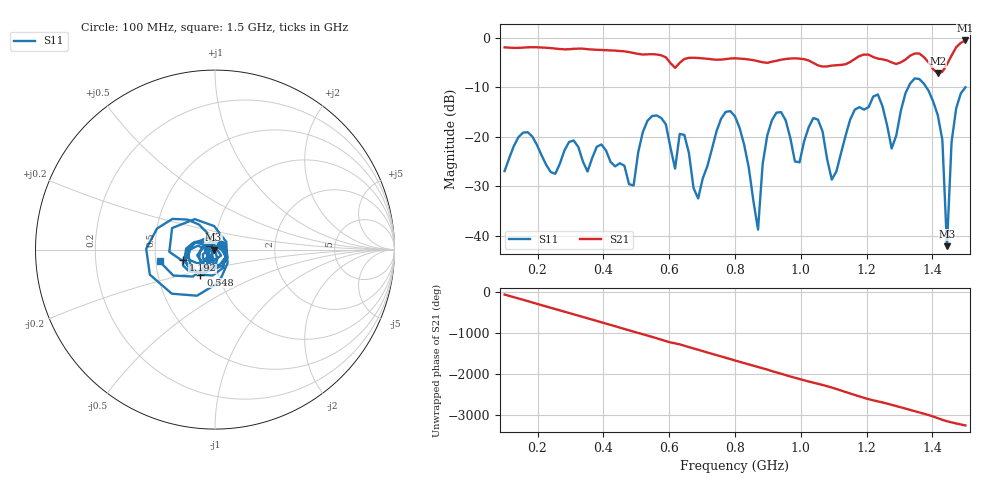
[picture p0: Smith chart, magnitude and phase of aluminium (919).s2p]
! NanoVNA-App
! Date: 2025-09-25 15:02:26
! Start: 100MHz Stop: 1,5GHz Points: 101
! S-Parameter data: F S11 S21 S12 S22
# Hz S RI R 50
!  Frequency  S11_Real  S11_Imag  S21_Real  S21_Imag  S12_Real  S12_Imag  S22_Real  S22_Imag
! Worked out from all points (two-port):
!   101 points, 100 MHz to 1.5 GHz, reference 50 ohm
!   highest |S21| = -0.53 dB at 1.5 GHz (marker M1); lowest = -7.2 dB at 1.416 GHz (marker M2)
!   |S21| within 3 dB of the highest: start of sweep to 575.9 MHz; 1.458 GHz to end of sweep (the widest 2 of 4)
!   lowest |S11| = -42.1 dB at 1.444 GHz (marker M3), VSWR 1.02, Z = 49.2 - j0.0281 ohm
!   |S11| at or under -10 dB: start of sweep to 1.327 GHz; 1.381 GHz to end of sweep
!   S12 and S22 are empty: the file has one direction only
!   S11 on the Smith chart (normalised r, x): 100 MHz: 1.07, +0.06; 548 MHz: 0.82, -0.24; 1.192 GHz: 0.69, -0.08; 1.5 GHz: 0.52, -0.08
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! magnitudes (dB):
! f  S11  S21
! 100 MHz  -27.0  -1.9
! 156 MHz  -19.2  -2.0
! 338 MHz  -25.0  -2.2
! 492 MHz  -29.9  -3.1
! 548 MHz  -15.8  -3.3
! 576 MHz  -16.2  -3.5
! 688 MHz  -32.5  -4.1
! 800 MHz  -15.9  -4.1
! 870 MHz  -38.8  -4.7
! 912 MHz  -16.7  -4.8
! 996 MHz  -25.2  -4.2
! 1.038 GHz  -16.2  -5.1
! 1.094 GHz  -28.7  -5.6
! 1.192 GHz  -14.5  -3.4
! 1.234 GHz  -11.5  -4.2
! 1.276 GHz  -22.4  -5.0
! 1.346 GHz  -8.2  -3.2
! 1.416 GHz  -15.6  -7.2
! 1.43 GHz  -20.6  -6.9
! 1.444 GHz  -42.1  -5.4
! 1.458 GHz  -21.1  -3.6
! 1.5 GHz  -10.0  -0.5
